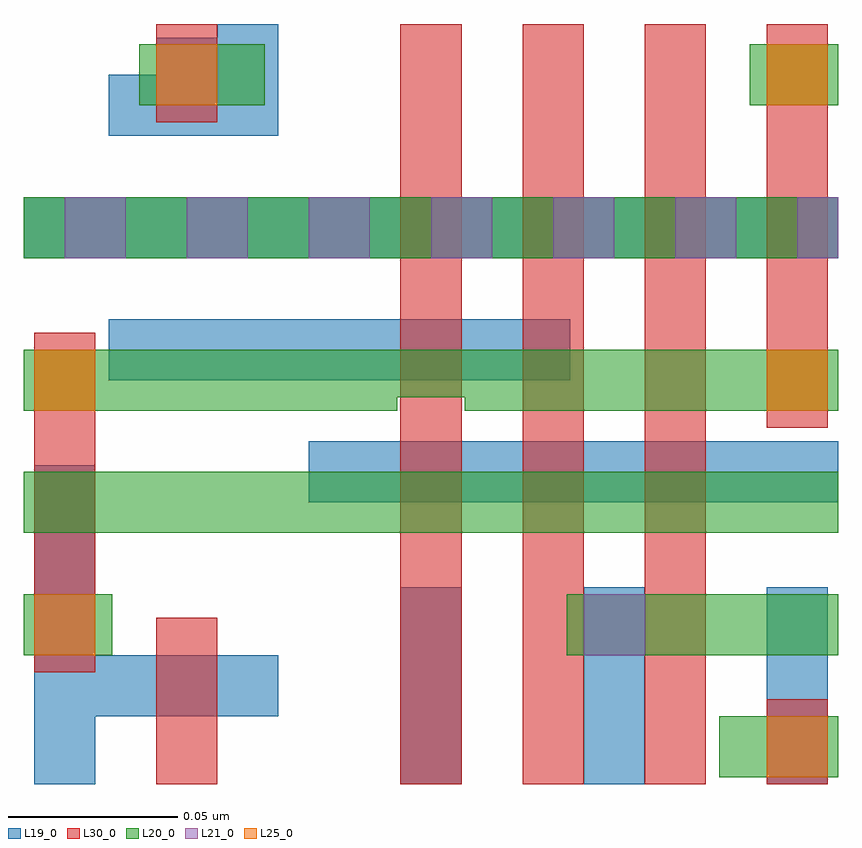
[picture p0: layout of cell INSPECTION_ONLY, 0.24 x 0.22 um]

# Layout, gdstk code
import gdstk
lib = gdstk.Library(unit=1e-6, precision=2.5e-10)
def R(c, l, rs):  # rectangles x0, y0, x1, y1
    for r in rs: c.add(gdstk.rectangle(r[:2], r[2:], *l))
def A(c, l, x, y, w, h, nx, ny, dx, dy):  # array of equal rectangles
    R(c, l, [(x+i*dx, y+j*dy, x+i*dx+w, y+j*dy+h) for i in range(nx) for j in range(ny)])
def P(c, l, *ps):  # polygons
    for p in ps: c.add(gdstk.Polygon(p, *l))
L19_0 = (19, 0)
L20_0 = (20, 0)
L21_0 = (21, 0)
L25_0 = (25, 0)
L30_0 = (30, 0)

inspection_only = lib.new_cell('INSPECTION_ONLY')
A(inspection_only, L19_0, 7.092, 1.996, 0.018, 0.058, 3, 1, 0.054, 0)
R(inspection_only, L19_0, [(7.2,1.996,7.218,2.018), (6.984,2.032,7.002,2.054), (7.146,2.032,7.164,2.054), (7.065,2.079,7.221,2.097), (7.006,2.115,7.142,2.133), (6.981,2.151,7.221,2.169), (6.981,2.151,7.221,2.169), (6.981,2.151,7.221,2.169), (6.981,2.151,7.128,2.169), (7.128,2.151,7.221,2.169), (7.02,2.194,7.038,2.216)])
P(inspection_only, L19_0, [(7.006,2.187),(7.006,2.205),(7.038,2.205),(7.038,2.22),(7.056,2.22),(7.056,2.187)],
  [(6.984,1.996),(6.984,2.09),(7.002,2.09),(7.002,2.034),(7.056,2.034),(7.056,2.016),(7.002,2.016),(7.002,1.996)])
R(inspection_only, L20_0, [(7.186,1.998,7.221,2.016), (6.981,2.034,7.007,2.052), (7.141,2.034,7.221,2.052), (6.981,2.07,7.221,2.088), (6.981,2.151,7.221,2.169), (7.015,2.196,7.052,2.214), (7.195,2.196,7.221,2.214)])
P(inspection_only, L20_0, [(6.981,2.106),(6.981,2.124),(7.221,2.124),(7.221,2.106),(7.111,2.106),(7.111,2.11),(7.091,2.11),(7.091,2.106)])
A(inspection_only, L21_0, 6.993, 2.151, 0.018, 0.018, 6, 1, 0.036, 0)
R(inspection_only, L21_0, [(7.2,1.998,7.218,2.016), (6.984,2.034,7.002,2.052), (7.146,2.034,7.164,2.052), (7.209,2.151,7.221,2.169), (7.02,2.196,7.038,2.214)])
R(inspection_only, L25_0, [(7.2,1.998,7.218,2.016), (6.984,2.034,7.002,2.052), (6.984,2.106,7.002,2.124), (7.2,2.106,7.218,2.124), (7.02,2.196,7.038,2.214), (7.2,2.196,7.218,2.214)])
A(inspection_only, L30_0, 7.092, 1.996, 0.018, 0.224, 3, 1, 0.036, 0)
R(inspection_only, L30_0, [(7.02,1.996,7.038,2.045), (7.2,1.996,7.218,2.021), (6.984,2.029,7.002,2.129), (7.2,2.101,7.218,2.22), (7.02,2.191,7.038,2.22)])

lib.write_gds('INSPECTION_ONLY.gds')
